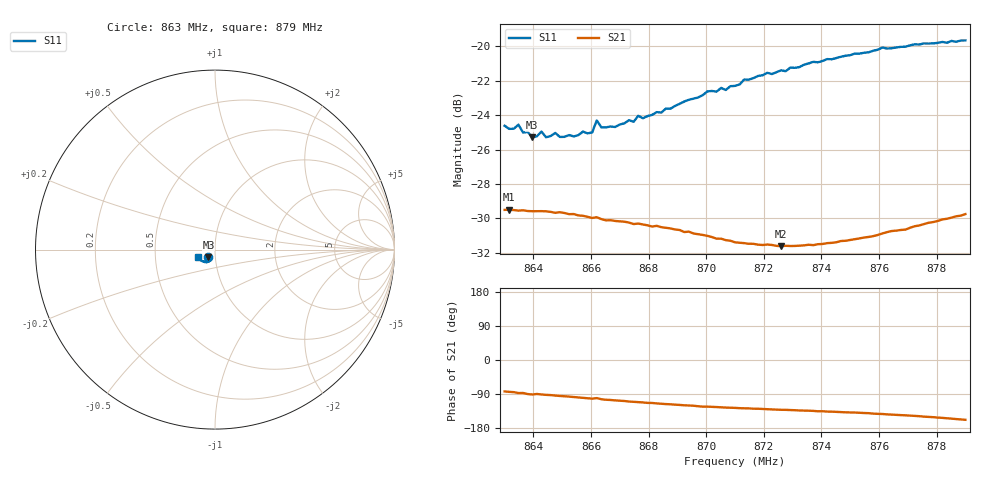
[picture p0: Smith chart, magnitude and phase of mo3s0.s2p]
# HZ S RI R 50
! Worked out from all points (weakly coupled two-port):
!   101 points, 863 MHz to 879 MHz, reference 50 ohm
!   highest |S21| = -29.49 dB at 863.16 MHz (marker M1); lowest = -31.6 dB at 872.6 MHz (marker M2)
!   lowest |S11| = -25.3 dB at 863.96 MHz (marker M3), VSWR 1.12, Z = 46.4 - j3.77 ohm
!   |S11| at or under -10 dB: start of sweep to end of sweep
!   S12 and S22 are empty: the file has one direction only
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8.63e8  -0.0396 -0.0434  0.00409 -0.0332  0 0  0 0
8.6316e8  -0.0395 -0.0419  0.00347 -0.0333  0 0  0 0
8.6348e8  -0.0395 -0.0441  0.00159 -0.0333  0 0  0 0
8.6364e8  -0.0358 -0.0433  0.00175 -0.0333  0 0  0 0
8.6396e8  -0.0363 -0.0405  -0.000593 -0.0332  0 0  0 0
8.6428e8  -0.0333 -0.0457  -0.000577 -0.0332  0 0  0 0
8.6444e8  -0.0324 -0.0437  -0.00116 -0.0331  0 0  0 0
8.654e8  -0.0282 -0.0469  -0.00437 -0.0323  0 0  0 0
8.6572e8  -0.0283 -0.0489  -0.0055 -0.0317  0 0  0 0
8.6604e8  -0.0277 -0.0489  -0.00655 -0.031  0 0  0 0
8.662e8  -0.0329 -0.0512  -0.00585 -0.0313  0 0  0 0
8.6636e8  -0.0282 -0.0508  -0.00734 -0.0306  0 0  0 0
8.6684e8  -0.0266 -0.0519  -0.00886 -0.0298  0 0  0 0
8.6748e8  -0.0257 -0.0546  -0.0106 -0.0286  0 0  0 0
8.6764e8  -0.0271 -0.0567  -0.011 -0.0285  0 0  0 0
8.6844e8  -0.0282 -0.0576  -0.0128 -0.0269  0 0  0 0
8.7004e8  -0.0348 -0.0652  -0.0154 -0.0236  0 0  0 0
8.71e8  -0.0388 -0.0662  -0.016 -0.0217  0 0  0 0
8.726e8  -0.0493 -0.0695  -0.0174 -0.0197  0 0  0 0
8.7372e8  -0.0575 -0.0694  -0.0185 -0.0189  0 0  0 0
8.7644e8  -0.0794 -0.0587  -0.0235 -0.017  0 0  0 0
8.79e8  -0.096 -0.04  -0.0301 -0.0123  0 0  0 0
